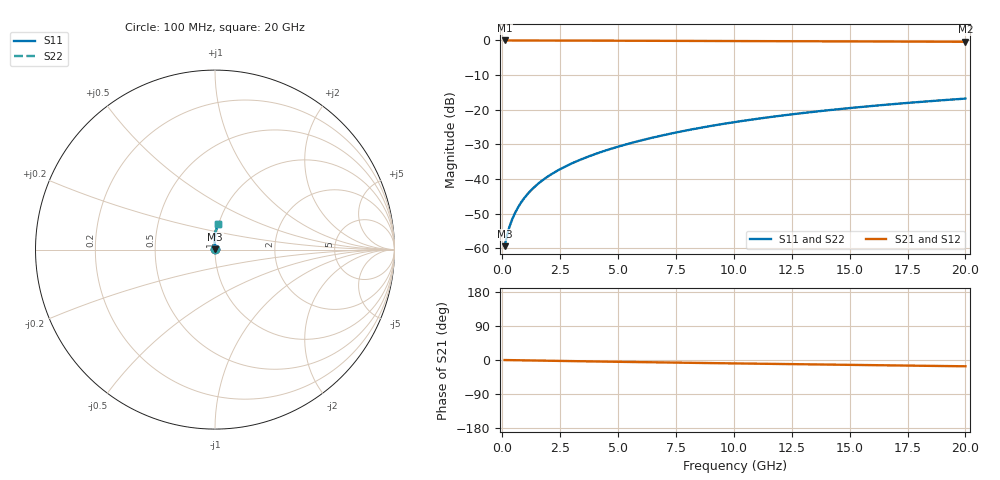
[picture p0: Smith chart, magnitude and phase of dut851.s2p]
! Touchstone file exported from HFSS 2024.1.0
!  File:  C:/UserFiles/LocalFiles/RDL_TSV_Batchsim/temp_RDL_bottom_851_1779864140.aedt
!  Generated:  02:45:08 PM May 27, 2026
!  Design:  RDL_bottom
!  Project:  temp_RDL_bottom_851_1779864140
!  Setup:  Setup1
!  Solution:  Sweep
! Variables:
!  dtsv = 10.80580581um
!  hbump = 3um
!  htsv = 96.03um
!  ldown = 240.03um
!  lrdl = 100um
!  p = 40
!  p1 = 46.16um
!  rhole = 1um
!  t = 450um
!  tdown = 4.73um
!  trdl = 3.915915916um
!  wdown = 26.58um
!  wrdl = 20um
# GHz S MA R 50.000000
! Terminal data exported
! Port[1] = RDL1_T1
! Port[2] = RDL1_T2
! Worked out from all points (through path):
!   200 points, 100 MHz to 20 GHz, reference 50 ohm
!   highest |S21| = -0.01 dB at 100 MHz (marker M1); lowest = -0.4 dB at 20 GHz (marker M2)
!   group delay of S21, straight-line fit = 2.27 ps
!   lowest |S11| = -59.3 dB at 100 MHz (marker M3), VSWR 1.00, Z = 50.1 + j0.0644 ohm
!   |S11| at or under -10 dB: start of sweep to end of sweep
!   |S22| runs from -59.3 to -16.8 dB; largest |S21 - S12| = 3.1e-15
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0.1  0.001079 36.5  0.9991 -0.1  0.9991 -0.1  0.001079 36.5
! Gamma 0 0 0 0
! Port Impedance 50 0 50 0
0.2  0.001533 52.4  0.999 -0.2  0.999 -0.2  0.001533 52.4
0.3  0.002007 60.9  0.999 -0.3  0.999 -0.3  0.002007 60.9
0.4  0.002493 66.5  0.9989 -0.4  0.9989 -0.4  0.002493 66.5
0.5  0.002991 70.5  0.9988 -0.5  0.9988 -0.5  0.002991 70.5
0.6  0.003501 73.5  0.9988 -0.6  0.9988 -0.6  0.003501 73.5
0.8  0.004542 77.7  0.9986 -0.8  0.9986 -0.8  0.004542 77.7
1.1  0.006142 81.5  0.9984 -1.1  0.9984 -1.1  0.006142 81.5
1.5  0.008317 84.7  0.998 -1.5  0.998 -1.5  0.008317 84.7
1.8  0.009975 86.3  0.9976 -1.8  0.9976 -1.8  0.009975 86.3
2.1  0.01165 87.5  0.9972 -2.1  0.9972 -2.1  0.01165 87.5
2.7  0.01509 89.4  0.9962 -2.7  0.9962 -2.7  0.01509 89.4
3.5  0.01984 91.1  0.9946 -3.4  0.9946 -3.4  0.01984 91.1
4.2  0.02418 92.2  0.993 -4.1  0.993 -4.1  0.02418 92.2
5  0.02937 93.0  0.991 -4.8  0.991 -4.8  0.02937 93.0
6.8  0.04188 93.6  0.9863 -6.3  0.9863 -6.3  0.04188 93.6
8.4  0.05378 93.2  0.9821 -7.7  0.9821 -7.7  0.05378 93.2
10.1  0.06693 92.1  0.9778 -9.0  0.9778 -9.0  0.06693 92.1
11.7  0.07957 90.7  0.974 -10.3  0.974 -10.3  0.07957 90.7
13.4  0.09311 89.1  0.9702 -11.6  0.9702 -11.6  0.09311 89.1
16.7  0.1193 85.7  0.9632 -14.1  0.9632 -14.1  0.1193 85.7
20  0.145 82.3  0.9566 -16.6  0.9566 -16.6  0.145 82.3
